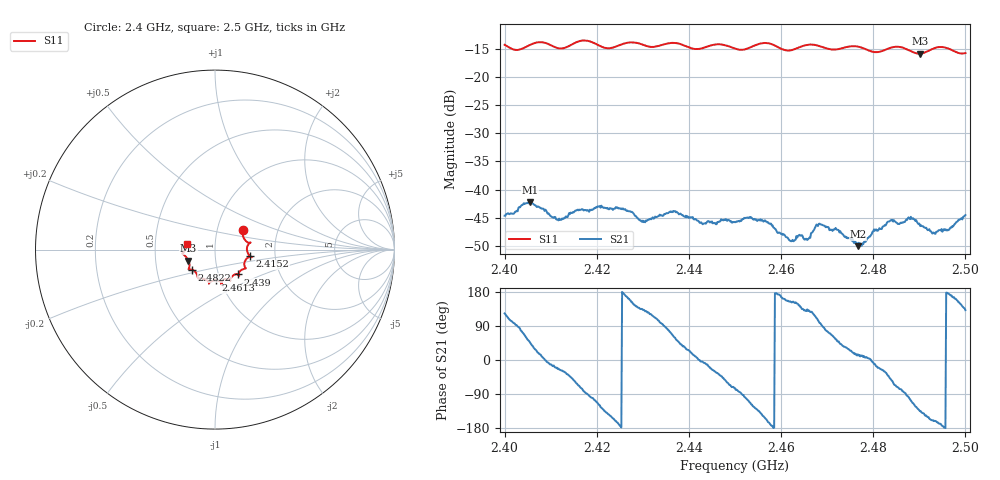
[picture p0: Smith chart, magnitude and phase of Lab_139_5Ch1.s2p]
# Hz S RI R 50
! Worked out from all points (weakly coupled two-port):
!   601 points, 2.4 GHz to 2.5 GHz, reference 50 ohm
!   highest |S21| = -42.28 dB at 2.4055 GHz (marker M1); lowest = -50.0 dB at 2.4767 GHz (marker M2)
!   lowest |S11| = -15.9 dB at 2.4902 GHz (marker M3), VSWR 1.38, Z = 36.9 - j4.62 ohm
!   |S11| at or under -10 dB: start of sweep to end of sweep
!   S12 and S22 are empty: the file has one direction only
!   S11 on the Smith chart (normalised r, x): 2.4 GHz: 1.33, +0.31; 2.4152 GHz: 1.48, -0.11; 2.439 GHz: 1.24, -0.36; 2.4613 GHz: 0.96, -0.34; 2.4822 GHz: 0.76, -0.17; 2.5 GHz: 0.72, +0.05
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2.4e9  0.1561 0.1113  -0.00319 0.00491  0 0  0 0
2.4055e9  0.1874 0.0379  0.0053 0.00558  0 0  0 0
2.411667e9  0.1784 0.0111  0.00492 -0.00205  0 0  0 0
2.415167e9  0.195 -0.0366  0.00366 -0.00524  0 0  0 0
2.416667e9  0.2043 -0.0425  0.00177 -0.00642  0 0  0 0
2.424667e9  0.1646 -0.0923  -0.00665 -0.00144  0 0  0 0
2.43e9  0.1587 -0.1085  -0.00357 0.00392  0 0  0 0
2.433333e9  0.1323 -0.1324  -0.00144 0.00563  0 0  0 0
2.439e9  0.1284 -0.1387  0.00474 0.00328  0 0  0 0
2.443167e9  0.0898 -0.1563  0.00495 -0.000601  0 0  0 0
2.45e9  0.0689 -0.1637  0.00138 -0.00494  0 0  0 0
2.456333e9  0.0384 -0.1954  -0.00458 -0.00258  0 0  0 0
2.461333e9  0.00718 -0.1706  -0.00344 0.00153  0 0  0 0
2.466667e9  -0.0332 -0.1898  -0.0025 0.0033  0 0  0 0
2.468667e9  -0.0342 -0.1818  -0.000356 0.00488  0 0  0 0
2.476667e9  -0.095 -0.1585  0.00304 0.000806  0 0  0 0
2.482167e9  -0.1281 -0.112  0.0042 -0.00215  0 0  0 0
2.483333e9  -0.1395 -0.1103  0.00385 -0.0035  0 0  0 0
2.488167e9  -0.1421 -0.0907  -0.0017 -0.00548  0 0  0 0
2.490167e9  -0.1481 -0.0611  -0.00339 -0.00335  0 0  0 0
2.493333e9  -0.1777 -0.0259  -0.00383 -0.00136  0 0  0 0
2.5e9  -0.1585 0.0334  -0.00395 0.00444  0 0  0 0
